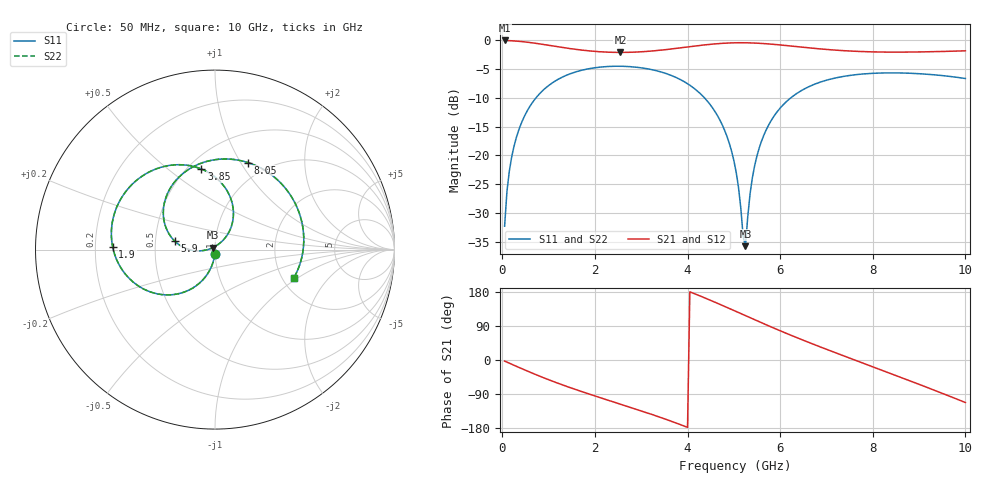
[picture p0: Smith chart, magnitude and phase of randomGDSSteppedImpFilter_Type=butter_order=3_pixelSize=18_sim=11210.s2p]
! freq	dB(S11)	phase(S11)	dB(S12)	phase(S12)
!  dB(S21)	phase(S21)	dB(S22)	phase(S22)
!S-par simulation data
#  GHz  S  DB  R 50
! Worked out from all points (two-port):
!   200 points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, 50 MHz to 10 GHz, reference 50 ohm
!   highest |S21| = -0.01 dB at 50 MHz (marker M1); lowest = -2.1 dB at 2.55 GHz (marker M2)
!   |S21| within 3 dB of the highest: start of sweep to end of sweep
!   lowest |S11| = -35.8 dB at 5.25 GHz (marker M3), VSWR 1.03, Z = 48.8 + j1.04 ohm
!   |S11| at or under -10 dB: start of sweep to 727.4 MHz; 4.366 GHz to 6.228 GHz (1.862 GHz wide, 35.1 % of centre)
!   |S22| runs from -35.6 to -4.5 dB; largest |S21 - S12| = 0
!   S11 on the Smith chart (normalised r, x): 50 MHz: 1.00, -0.05; 1.9 GHz: 0.27, +0.01; 3.85 GHz: 0.58, +0.66; 5.9 GHz: 0.63, +0.06; 8.05 GHz: 0.81, +1.08; 10 GHz: 2.29, -0.94
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0.05  -32.32 -92.9  -0.01 -2.8  -0.01 -2.8  -32.32 -92.9
0.1  -26.33 -95.9  -0.02 -5.6  -0.02 -5.6  -26.33 -95.9
0.2  -20.39 -101.5  -0.06 -11.0  -0.06 -11.0  -20.39 -101.5
0.5  -12.83 -117.6  -0.27 -27.1  -0.27 -27.1  -12.83 -117.6
1.1  -7.28 -147.2  -0.97 -56.7  -0.97 -56.7  -7.28 -147.2
1.75  -5.12 -175.3  -1.71 -84.8  -1.71 -84.8  -5.12 -175.3
1.9  -4.88 178.6  -1.84 -90.8  -1.84 -90.8  -4.88 178.6
2.55  -4.49 153.1  -2.09 -116.4  -2.09 -116.4  -4.49 153.1
3.4  -5.42 119.1  -1.71 -150.8  -1.71 -150.8  -5.42 119.1
3.85  -6.83 99.6  -1.29 -170.7  -1.29 -170.7  -6.83 99.6
4.6  -12.46 64.5  -0.60 152.1  -0.60 152.1  -12.46 64.6
5.05  -22.90 49.0  -0.41 128.0  -0.41 128.0  -22.90 49.2
5.25  -35.79 138.8  -0.41 117.1  -0.41 117.1  -35.63 138.3
5.35  -26.72 -178.0  -0.43 111.6  -0.43 111.6  -26.69 -178.4
5.45  -21.76 -175.0  -0.46 106.2  -0.46 106.2  -21.76 -175.3
5.9  -12.79 168.1  -0.71 82.3  -0.71 82.3  -12.79 168.0
6.7  -7.76 130.3  -1.35 42.4  -1.35 42.4  -7.76 130.3
7.35  -6.28 100.6  -1.77 12.0  -1.77 12.0  -6.28 100.5
8.05  -5.71 69.1  -2.00 -20.1  -2.00 -20.1  -5.71 69.1
8.35  -5.65 55.7  -2.03 -33.9  -2.03 -33.9  -5.65 55.6
9.2  -5.90 17.1  -1.98 -73.6  -1.98 -73.6  -5.90 17.0
10  -6.63 -20.0  -1.81 -112.2  -1.81 -112.2  -6.63 -20.1
